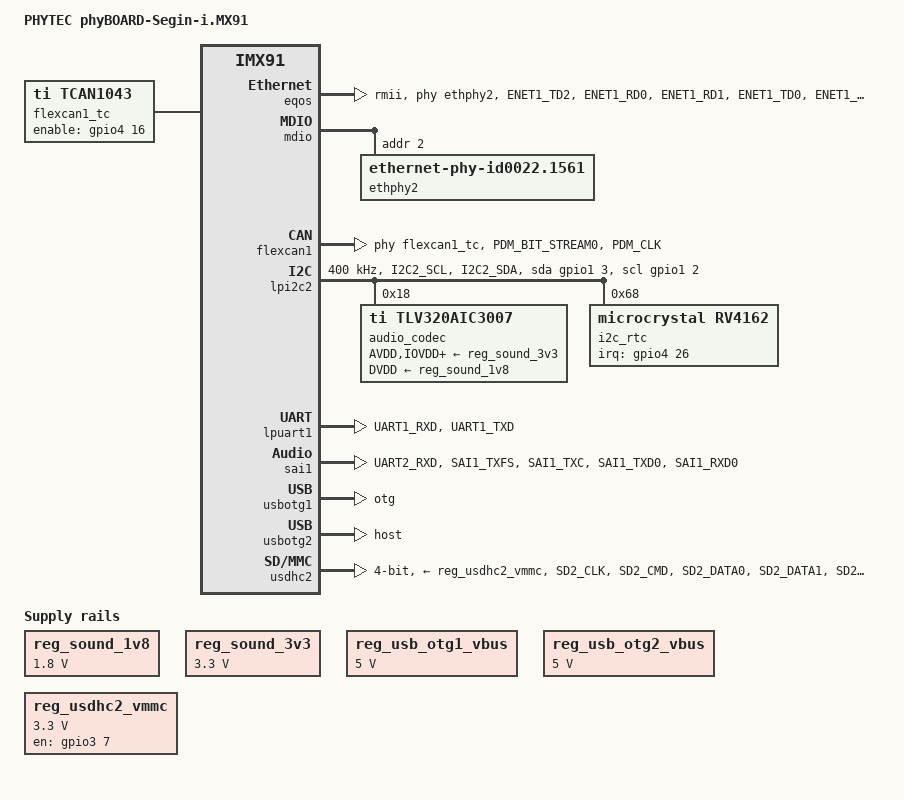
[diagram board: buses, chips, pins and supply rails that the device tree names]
// SPDX-License-Identifier: (GPL-2.0+ OR MIT)
/*
 * Copyright (C) 2025 PHYTEC Messtechnik GmbH
 * Author: Christoph Stoidner <c.stoidner@phytec.de>
 *
 * Product homepage:
 * phyBOARD-Segin carrier board is reused for the i.MX91 design.
 * https://www.phytec.eu/en/produkte/single-board-computer/phyboard-segin-imx6ul/
 */
/dts-v1/;

#include "imx91-phycore-som.dtsi"

/{
	model = "PHYTEC phyBOARD-Segin-i.MX91";
	compatible = "phytec,imx91-phyboard-segin", "phytec,imx91-phycore-som",
		     "fsl,imx91";

	aliases {
		ethernet1 = &eqos;
		gpio0 = &gpio1;
		gpio1 = &gpio2;
		gpio2 = &gpio3;
		gpio3 = &gpio4;
		i2c0 = &lpi2c1;
		i2c1 = &lpi2c2;
		mmc0 = &usdhc1;
		mmc1 = &usdhc2;
		rtc0 = &i2c_rtc;
		rtc1 = &bbnsm_rtc;
		serial0 = &lpuart1;
	};

	chosen {
		stdout-path = &lpuart1;
	};

	flexcan1_tc: can-phy0 {
		/* TI SN65HVD234D CAN-CC 1MBit/s */
		compatible = "ti,tcan1043";
		#phy-cells = <0>;
		max-bitrate = <1000000>;
		pinctrl-names = "default";
		pinctrl-0 = <&pinctrl_flexcan1_tc>;
		enable-gpios = <&gpio4 16 GPIO_ACTIVE_HIGH>;
	};

	reg_sound_1v8: regulator-sound-1v8 {
		compatible = "regulator-fixed";
		regulator-max-microvolt = <1800000>;
		regulator-min-microvolt = <1800000>;
		regulator-name = "VCC1V8_AUDIO";
	};

	reg_sound_3v3: regulator-sound-3v3 {
		compatible = "regulator-fixed";
		regulator-max-microvolt = <3300000>;
		regulator-min-microvolt = <3300000>;
		regulator-name = "VCC3V3_ANALOG";
	};

	reg_usb_otg1_vbus: regulator-usb-otg1-vbus {
		compatible = "regulator-fixed";
		regulator-name = "USB_OTG1_VBUS";
		regulator-max-microvolt = <5000000>;
		regulator-min-microvolt = <5000000>;
		regulator-always-on;
	};

	reg_usb_otg2_vbus: regulator-usb-otg2-vbus {
		compatible = "regulator-fixed";
		regulator-name = "USB_OTG2_VBUS";
		regulator-max-microvolt = <5000000>;
		regulator-min-microvolt = <5000000>;
		regulator-always-on;
	};

	reg_usdhc2_vmmc: regulator-usdhc2 {
		compatible = "regulator-fixed";
		enable-active-high;
		gpio = <&gpio3 7 GPIO_ACTIVE_HIGH>;
		pinctrl-names = "default";
		pinctrl-0 = <&pinctrl_reg_usdhc2_vmmc>;
		regulator-max-microvolt = <3300000>;
		regulator-min-microvolt = <3300000>;
		regulator-name = "VCC_SD";
	};

	sound: sound {
		compatible = "simple-audio-card";
		simple-audio-card,name = "phyBOARD-Segin-TLV320AIC3007";
		simple-audio-card,format = "i2s";
		simple-audio-card,bitclock-master = <&dailink_master>;
		simple-audio-card,frame-master = <&dailink_master>;
		simple-audio-card,widgets =
			"Line", "Line In",
			"Line", "Line Out",
			"Speaker", "Speaker";
		simple-audio-card,routing =
			"Line Out", "LLOUT",
			"Line Out", "RLOUT",
			"Speaker", "SPOP",
			"Speaker", "SPOM",
			"LINE1L", "Line In",
			"LINE1R", "Line In";

		simple-audio-card,cpu {
			sound-dai = <&sai1>;
		};

		dailink_master: simple-audio-card,codec {
			sound-dai = <&audio_codec>;
			clocks = <&clk IMX93_CLK_SAI1>;
		};
	};
};

/* Ethernet */
&eqos {
	pinctrl-names = "default";
	pinctrl-0 = <&pinctrl_eqos>;
	phy-mode = "rmii";
	phy-handle = <&ethphy2>;
	assigned-clock-parents = <&clk IMX93_CLK_SYS_PLL_PFD1_DIV2>,
				 <&clk IMX93_CLK_SYS_PLL_PFD1_DIV2>;
	assigned-clock-rates = <100000000>, <50000000>;
	status = "okay";
};

&mdio {
	ethphy2: ethernet-phy@2 {
		compatible = "ethernet-phy-id0022.1561";
		reg = <2>;
		clocks = <&clk IMX91_CLK_ENET2_REGULAR>;
		clock-names = "rmii-ref";
		micrel,led-mode = <1>;
	};
};

/* CAN */
&flexcan1 {
	pinctrl-names = "default";
	pinctrl-0 = <&pinctrl_flexcan1>;
	phys = <&flexcan1_tc>;
	status = "okay";
};

/* I2C2 */
&lpi2c2 {
	clock-frequency = <400000>;
	pinctrl-names = "default", "gpio";
	pinctrl-0 = <&pinctrl_lpi2c2>;
	pinctrl-1 = <&pinctrl_lpi2c2_gpio>;
	scl-gpios = <&gpio1 2 (GPIO_ACTIVE_HIGH | GPIO_OPEN_DRAIN)>;
	sda-gpios = <&gpio1 3 (GPIO_ACTIVE_HIGH | GPIO_OPEN_DRAIN)>;
	status = "okay";

	/* Codec */
	audio_codec: audio-codec@18 {
		compatible = "ti,tlv320aic3007";
		reg = <0x18>;
		#sound-dai-cells = <0>;
		AVDD-supply = <&reg_sound_3v3>;
		IOVDD-supply = <&reg_sound_3v3>;
		DRVDD-supply = <&reg_sound_3v3>;
		DVDD-supply = <&reg_sound_1v8>;
	};

	/* RTC */
	i2c_rtc: rtc@68 {
		compatible = "microcrystal,rv4162";
		reg = <0x68>;
		pinctrl-names = "default";
		pinctrl-0 = <&pinctrl_rtc>;
		interrupt-parent = <&gpio4>;
		interrupts = <26 IRQ_TYPE_LEVEL_LOW>;
	};
};

/* Console */
&lpuart1 {
	pinctrl-names = "default";
	pinctrl-0 = <&pinctrl_uart1>;
	status = "okay";
};

/* Audio */
&sai1 {
	pinctrl-names = "default";
	pinctrl-0 = <&pinctrl_sai1>;
	assigned-clocks = <&clk IMX93_CLK_SAI1>;
	assigned-clock-parents = <&clk IMX93_CLK_AUDIO_PLL>;
	assigned-clock-rates = <19200000>;
	fsl,sai-mclk-direction-output;
	status = "okay";
};

/* USB  */
&usbphynop1 {
	vbus-supply = <&reg_usb_otg1_vbus>;
};

&usbphynop2 {
	vbus-supply = <&reg_usb_otg2_vbus>;
};

&usbotg1 {
	disable-over-current;
	dr_mode = "otg";
	status = "okay";
};

&usbotg2 {
	disable-over-current;
	dr_mode = "host";
	status = "okay";
};

/* SD-Card */
&usdhc2 {
	pinctrl-names = "default", "state_100mhz", "state_200mhz";
	pinctrl-0 = <&pinctrl_usdhc2_default>, <&pinctrl_usdhc2_cd>;
	pinctrl-1 = <&pinctrl_usdhc2_100mhz>, <&pinctrl_usdhc2_cd>;
	pinctrl-2 = <&pinctrl_usdhc2_200mhz>, <&pinctrl_usdhc2_cd>;
	bus-width = <4>;
	cd-gpios = <&gpio3 0 GPIO_ACTIVE_LOW>;
	disable-wp;
	no-mmc;
	no-sdio;
	vmmc-supply = <&reg_usdhc2_vmmc>;
	status = "okay";
};

&iomuxc {
	pinctrl_eqos: eqosgrp {
		fsl,pins = <
			MX91_PAD_ENET1_TD2__ENET_QOS_CLOCK_GENERATE_CLK	0x4000050e
			MX91_PAD_ENET1_RD0__ENET_QOS_RGMII_RD0		0x57e
			MX91_PAD_ENET1_RD1__ENET_QOS_RGMII_RD1		0x57e
			MX91_PAD_ENET1_TD0__ENET_QOS_RGMII_TD0		0x50e
			MX91_PAD_ENET1_TD1__ENET1_RGMII_TD1		0x50e
			MX91_PAD_ENET1_RX_CTL__ENET_QOS_RGMII_RX_CTL	0x57e
			MX91_PAD_ENET1_TX_CTL__ENET_QOS_RGMII_TX_CTL	0x50e
			MX91_PAD_ENET1_RXC__ENET_QOS_RX_ER		0x57e
		>;
	};

	pinctrl_flexcan1: flexcan1grp {
		fsl,pins = <
			MX91_PAD_PDM_BIT_STREAM0__CAN1_RX	0x139e
			MX91_PAD_PDM_CLK__CAN1_TX		0x139e
		>;
	};

	pinctrl_flexcan1_tc: flexcan1tcgrp {
		fsl,pins = <
			MX91_PAD_ENET2_TD3__GPIO4_IO16		0x31e
		>;
	};

	pinctrl_lpi2c2: lpi2c2grp {
		fsl,pins = <
			MX91_PAD_I2C2_SCL__LPI2C2_SCL		0x40000b9e
			MX91_PAD_I2C2_SDA__LPI2C2_SDA		0x40000b9e
		>;
	};

	pinctrl_lpi2c2_gpio: lpi2c2gpiogrp {
		fsl,pins = <
			MX91_PAD_I2C2_SCL__GPIO1_IO2		0x31e
			MX91_PAD_I2C2_SDA__GPIO1_IO3		0x31e
		>;
	};

	pinctrl_reg_usdhc2_vmmc: regusdhc2vmmcgrp {
		fsl,pins = <
			MX91_PAD_SD2_RESET_B__GPIO3_IO7		0x31e
		>;
	};

	pinctrl_rtc: rtcgrp {
		fsl,pins = <
			MX91_PAD_ENET2_RD2__GPIO4_IO26		0x31e
		>;
	};

	pinctrl_sai1: sai1grp {
		fsl,pins = <
			MX91_PAD_UART2_RXD__SAI1_MCLK		0x1202
			MX91_PAD_SAI1_TXFS__SAI1_TX_SYNC	0x1202
			MX91_PAD_SAI1_TXC__SAI1_TX_BCLK		0x1202
			MX91_PAD_SAI1_TXD0__SAI1_TX_DATA0	0x1402
			MX91_PAD_SAI1_RXD0__SAI1_RX_DATA0	0x1402
		>;
	};

	pinctrl_uart1: uart1grp {
		fsl,pins = <
			MX91_PAD_UART1_RXD__LPUART1_RX		0x31e
			MX91_PAD_UART1_TXD__LPUART1_TX		0x30e
		>;
	};

	pinctrl_usdhc2_cd: usdhc2cdgrp {
		fsl,pins = <
			MX91_PAD_SD2_CD_B__GPIO3_IO0		0x31e
		>;
	};

	pinctrl_usdhc2_default: usdhc2grp {
		fsl,pins = <
			MX91_PAD_SD2_CLK__USDHC2_CLK		0x158e
			MX91_PAD_SD2_CMD__USDHC2_CMD		0x1382
			MX91_PAD_SD2_DATA0__USDHC2_DATA0	0x1386
			MX91_PAD_SD2_DATA1__USDHC2_DATA1	0x138e
			MX91_PAD_SD2_DATA2__USDHC2_DATA2	0x139e
			MX91_PAD_SD2_DATA3__USDHC2_DATA3	0x139e
			MX91_PAD_SD2_VSELECT__USDHC2_VSELECT	0x51e
		>;
	};

	pinctrl_usdhc2_100mhz: usdhc2-100mhzgrp {
		fsl,pins = <
			MX91_PAD_SD2_CLK__USDHC2_CLK		0x159e
			MX91_PAD_SD2_CMD__USDHC2_CMD		0x139e
			MX91_PAD_SD2_DATA0__USDHC2_DATA0	0x138e
			MX91_PAD_SD2_DATA1__USDHC2_DATA1	0x138e
			MX91_PAD_SD2_DATA2__USDHC2_DATA2	0x139e
			MX91_PAD_SD2_DATA3__USDHC2_DATA3	0x139e
			MX91_PAD_SD2_VSELECT__USDHC2_VSELECT	0x51e
		>;
	};

	pinctrl_usdhc2_200mhz: usdhc2-200mhzgrp {
		fsl,pins = <
			MX91_PAD_SD2_CLK__USDHC2_CLK		0x158e
			MX91_PAD_SD2_CMD__USDHC2_CMD		0x138e
			MX91_PAD_SD2_DATA0__USDHC2_DATA0	0x139e
			MX91_PAD_SD2_DATA1__USDHC2_DATA1	0x139e
			MX91_PAD_SD2_DATA2__USDHC2_DATA2	0x139e
			MX91_PAD_SD2_DATA3__USDHC2_DATA3	0x139e
			MX91_PAD_SD2_VSELECT__USDHC2_VSELECT	0x51e
		>;
	};
};
